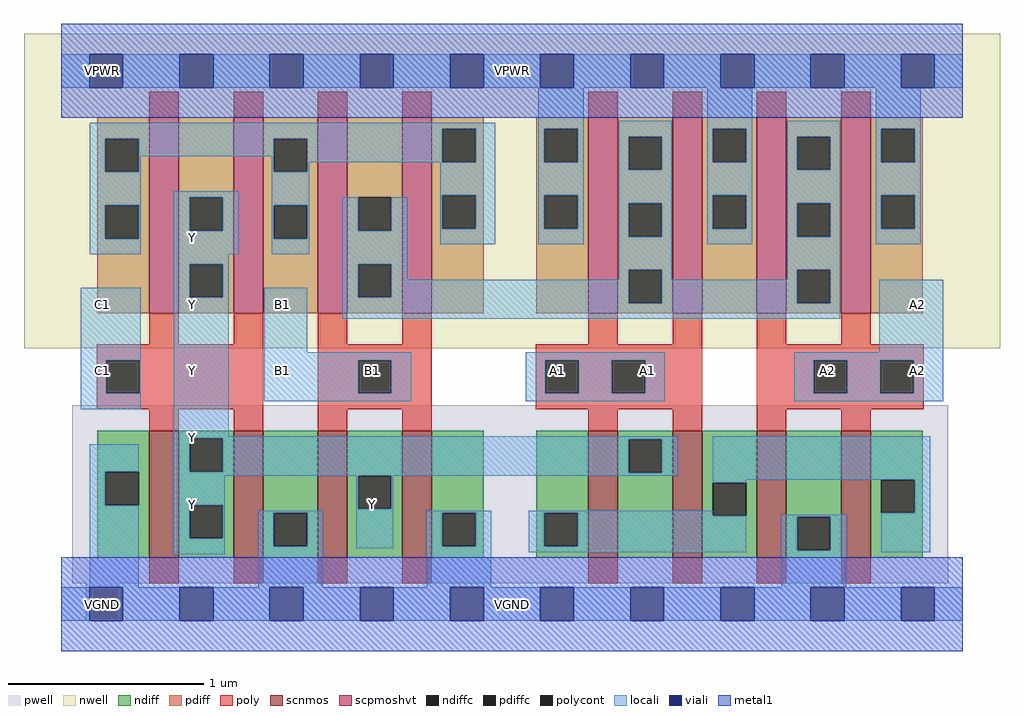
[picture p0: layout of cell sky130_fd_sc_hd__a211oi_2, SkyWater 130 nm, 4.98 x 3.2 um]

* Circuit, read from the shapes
.subckt sky130_fd_sc_hd__a211oi_2 A1 A2 B1 C1 VGND VNB VPB VPWR Y
XM1 Y C1 VGND VNB sky130_fd_pr__nfet_01v8 w=0.65 l=0.15 m=2
XM2 Y B1 VGND VNB sky130_fd_pr__nfet_01v8 w=0.65 l=0.15 m=2
XM3 Y A1 n1 VNB sky130_fd_pr__nfet_01v8 w=0.65 l=0.15 m=2
XM4 VGND A2 n1 VNB sky130_fd_pr__nfet_01v8 w=0.65 l=0.15 m=2
XM5 Y C1 n2 VPB sky130_fd_pr__pfet_01v8_hvt w=1 l=0.15 m=2
XM6 n3 B1 n2 VPB sky130_fd_pr__pfet_01v8_hvt w=1 l=0.15 m=2
XM7 n3 A1 VPWR VPB sky130_fd_pr__pfet_01v8_hvt w=1 l=0.15 m=2
XM8 n3 A2 VPWR VPB sky130_fd_pr__pfet_01v8_hvt w=1 l=0.15 m=2
.ends

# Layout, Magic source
magic
tech sky130A
magscale 1 2
<< nwell >>
rect -38 261 958 582
<< pwell >>
rect 11 21 905 203
rect 25 -17 59 21
<< scnmos >>
rect 90 47 120 177
rect 176 47 206 177
rect 262 47 292 177
rect 348 47 378 177
rect 538 47 568 177
rect 624 47 654 177
rect 710 47 740 177
rect 796 47 826 177
<< scpmoshvt >>
rect 90 297 120 497
rect 176 297 206 497
rect 262 297 292 497
rect 348 297 378 497
rect 538 297 568 497
rect 624 297 654 497
rect 710 297 740 497
rect 796 297 826 497
<< ndiff >>
rect 37 135 90 177
rect 37 101 45 135
rect 79 101 90 135
rect 37 47 90 101
rect 120 169 176 177
rect 120 135 131 169
rect 165 135 176 169
rect 120 101 176 135
rect 120 67 131 101
rect 165 67 176 101
rect 120 47 176 67
rect 206 93 262 177
rect 206 59 217 93
rect 251 59 262 93
rect 206 47 262 59
rect 292 131 348 177
rect 292 97 303 131
rect 337 97 348 131
rect 292 47 348 97
rect 378 93 431 177
rect 378 59 389 93
rect 423 59 431 93
rect 378 47 431 59
rect 485 93 538 177
rect 485 59 493 93
rect 527 59 538 93
rect 485 47 538 59
rect 568 168 624 177
rect 568 134 579 168
rect 613 134 624 168
rect 568 47 624 134
rect 654 124 710 177
rect 654 90 665 124
rect 699 90 710 124
rect 654 47 710 90
rect 740 89 796 177
rect 740 55 751 89
rect 785 55 796 89
rect 740 47 796 55
rect 826 127 879 177
rect 826 93 837 127
rect 871 93 879 127
rect 826 47 879 93
<< pdiff >>
rect 37 475 90 497
rect 37 441 45 475
rect 79 441 90 475
rect 37 407 90 441
rect 37 373 45 407
rect 79 373 90 407
rect 37 297 90 373
rect 120 415 176 497
rect 120 381 131 415
rect 165 381 176 415
rect 120 347 176 381
rect 120 313 131 347
rect 165 313 176 347
rect 120 297 176 313
rect 206 475 262 497
rect 206 441 217 475
rect 251 441 262 475
rect 206 407 262 441
rect 206 373 217 407
rect 251 373 262 407
rect 206 297 262 373
rect 292 415 348 497
rect 292 381 303 415
rect 337 381 348 415
rect 292 347 348 381
rect 292 313 303 347
rect 337 313 348 347
rect 292 297 348 313
rect 378 485 431 497
rect 378 451 389 485
rect 423 451 431 485
rect 378 417 431 451
rect 378 383 389 417
rect 423 383 431 417
rect 378 297 431 383
rect 485 485 538 497
rect 485 451 493 485
rect 527 451 538 485
rect 485 417 538 451
rect 485 383 493 417
rect 527 383 538 417
rect 485 297 538 383
rect 568 477 624 497
rect 568 443 579 477
rect 613 443 624 477
rect 568 409 624 443
rect 568 375 579 409
rect 613 375 624 409
rect 568 341 624 375
rect 568 307 579 341
rect 613 307 624 341
rect 568 297 624 307
rect 654 485 710 497
rect 654 451 665 485
rect 699 451 710 485
rect 654 417 710 451
rect 654 383 665 417
rect 699 383 710 417
rect 654 297 710 383
rect 740 477 796 497
rect 740 443 751 477
rect 785 443 796 477
rect 740 409 796 443
rect 740 375 751 409
rect 785 375 796 409
rect 740 341 796 375
rect 740 307 751 341
rect 785 307 796 341
rect 740 297 796 307
rect 826 485 879 497
rect 826 451 837 485
rect 871 451 879 485
rect 826 417 879 451
rect 826 383 837 417
rect 871 383 879 417
rect 826 297 879 383
<< ndiffc >>
rect 45 101 79 135
rect 131 135 165 169
rect 131 67 165 101
rect 217 59 251 93
rect 303 97 337 131
rect 389 59 423 93
rect 493 59 527 93
rect 579 134 613 168
rect 665 90 699 124
rect 751 55 785 89
rect 837 93 871 127
<< pdiffc >>
rect 45 441 79 475
rect 45 373 79 407
rect 131 381 165 415
rect 131 313 165 347
rect 217 441 251 475
rect 217 373 251 407
rect 303 381 337 415
rect 303 313 337 347
rect 389 451 423 485
rect 389 383 423 417
rect 493 451 527 485
rect 493 383 527 417
rect 579 443 613 477
rect 579 375 613 409
rect 579 307 613 341
rect 665 451 699 485
rect 665 383 699 417
rect 751 443 785 477
rect 751 375 785 409
rect 751 307 785 341
rect 837 451 871 485
rect 837 383 871 417
<< poly >>
rect 90 497 120 523
rect 176 497 206 523
rect 262 497 292 523
rect 348 497 378 523
rect 538 497 568 523
rect 624 497 654 523
rect 710 497 740 523
rect 796 497 826 523
rect 90 265 120 297
rect 176 265 206 297
rect 36 249 206 265
rect 36 215 46 249
rect 80 215 206 249
rect 36 199 206 215
rect 90 177 120 199
rect 176 177 206 199
rect 262 265 292 297
rect 348 265 378 297
rect 538 265 568 297
rect 624 265 654 297
rect 262 249 378 265
rect 262 215 303 249
rect 337 215 378 249
rect 262 199 378 215
rect 484 249 654 265
rect 484 215 494 249
rect 528 215 562 249
rect 596 215 654 249
rect 484 199 654 215
rect 262 177 292 199
rect 348 177 378 199
rect 538 177 568 199
rect 624 177 654 199
rect 710 265 740 297
rect 796 265 826 297
rect 710 249 880 265
rect 710 215 768 249
rect 802 215 836 249
rect 870 215 880 249
rect 710 199 880 215
rect 710 177 740 199
rect 796 177 826 199
rect 90 21 120 47
rect 176 21 206 47
rect 262 21 292 47
rect 348 21 378 47
rect 538 21 568 47
rect 624 21 654 47
rect 710 21 740 47
rect 796 21 826 47
<< polycont >>
rect 46 215 80 249
rect 303 215 337 249
rect 494 215 528 249
rect 562 215 596 249
rect 768 215 802 249
rect 836 215 870 249
<< locali >>
rect 0 527 29 561
rect 63 527 121 561
rect 155 527 213 561
rect 247 527 305 561
rect 339 527 397 561
rect 431 527 489 561
rect 523 527 581 561
rect 615 527 673 561
rect 707 527 765 561
rect 799 527 857 561
rect 891 527 920 561
rect 29 485 443 491
rect 29 475 389 485
rect 29 441 45 475
rect 79 457 217 475
rect 79 441 81 457
rect 29 407 81 441
rect 215 441 217 457
rect 251 451 389 475
rect 423 451 443 485
rect 251 441 253 451
rect 29 373 45 407
rect 79 373 81 407
rect 29 357 81 373
rect 115 415 181 421
rect 115 381 131 415
rect 165 381 181 415
rect 115 357 181 381
rect 215 407 253 441
rect 387 417 443 451
rect 215 373 217 407
rect 251 373 253 407
rect 215 357 253 373
rect 287 381 303 415
rect 337 381 353 415
rect 115 347 171 357
rect 20 249 81 323
rect 20 215 46 249
rect 80 215 81 249
rect 20 199 81 215
rect 115 313 131 347
rect 165 313 171 347
rect 287 347 353 381
rect 387 383 389 417
rect 423 383 443 417
rect 387 367 443 383
rect 487 485 533 527
rect 487 451 493 485
rect 527 451 533 485
rect 487 417 533 451
rect 487 383 493 417
rect 527 383 533 417
rect 487 367 533 383
rect 569 477 623 493
rect 569 443 579 477
rect 613 443 623 477
rect 569 409 623 443
rect 569 375 579 409
rect 613 375 623 409
rect 115 171 171 313
rect 207 257 251 323
rect 287 313 303 347
rect 337 331 353 347
rect 569 341 623 375
rect 659 485 705 527
rect 659 451 665 485
rect 699 451 705 485
rect 659 417 705 451
rect 659 383 665 417
rect 699 383 705 417
rect 659 367 705 383
rect 741 477 795 493
rect 741 443 751 477
rect 785 443 795 477
rect 741 409 795 443
rect 741 375 751 409
rect 785 375 795 409
rect 569 331 579 341
rect 337 313 579 331
rect 287 307 579 313
rect 613 331 623 341
rect 741 341 795 375
rect 831 485 877 527
rect 831 451 837 485
rect 871 451 877 485
rect 831 417 877 451
rect 831 383 837 417
rect 871 383 877 417
rect 831 367 877 383
rect 741 331 751 341
rect 613 307 751 331
rect 785 307 795 341
rect 287 291 795 307
rect 835 257 900 331
rect 207 249 357 257
rect 207 215 303 249
rect 337 215 357 249
rect 207 207 357 215
rect 474 249 616 257
rect 474 215 494 249
rect 528 215 562 249
rect 596 215 616 249
rect 474 207 616 215
rect 748 249 900 257
rect 748 215 768 249
rect 802 215 836 249
rect 870 215 900 249
rect 748 207 900 215
rect 115 169 629 171
rect 29 135 79 163
rect 29 101 45 135
rect 29 17 79 101
rect 115 135 131 169
rect 165 168 629 169
rect 165 135 579 168
rect 115 134 579 135
rect 613 134 629 168
rect 115 131 629 134
rect 115 101 167 131
rect 115 67 131 101
rect 165 67 167 101
rect 301 97 303 131
rect 337 97 339 131
rect 115 51 167 67
rect 201 93 267 95
rect 201 59 217 93
rect 251 59 267 93
rect 201 17 267 59
rect 301 57 339 97
rect 665 127 887 171
rect 665 124 699 127
rect 373 93 439 95
rect 373 59 389 93
rect 423 59 439 93
rect 373 17 439 59
rect 477 93 665 95
rect 477 59 493 93
rect 527 90 665 93
rect 871 93 887 127
rect 527 59 699 90
rect 477 53 699 59
rect 735 89 801 91
rect 735 55 751 89
rect 785 55 801 89
rect 735 17 801 55
rect 837 53 887 93
rect 0 -17 29 17
rect 63 -17 121 17
rect 155 -17 213 17
rect 247 -17 305 17
rect 339 -17 397 17
rect 431 -17 489 17
rect 523 -17 581 17
rect 615 -17 673 17
rect 707 -17 765 17
rect 799 -17 857 17
rect 891 -17 920 17
<< viali >>
rect 29 527 63 561
rect 121 527 155 561
rect 213 527 247 561
rect 305 527 339 561
rect 397 527 431 561
rect 489 527 523 561
rect 581 527 615 561
rect 673 527 707 561
rect 765 527 799 561
rect 857 527 891 561
rect 29 -17 63 17
rect 121 -17 155 17
rect 213 -17 247 17
rect 305 -17 339 17
rect 397 -17 431 17
rect 489 -17 523 17
rect 581 -17 615 17
rect 673 -17 707 17
rect 765 -17 799 17
rect 857 -17 891 17
<< metal1 >>
rect 0 561 920 592
rect 0 527 29 561
rect 63 527 121 561
rect 155 527 213 561
rect 247 527 305 561
rect 339 527 397 561
rect 431 527 489 561
rect 523 527 581 561
rect 615 527 673 561
rect 707 527 765 561
rect 799 527 857 561
rect 891 527 920 561
rect 0 496 920 527
rect 0 17 920 48
rect 0 -17 29 17
rect 63 -17 121 17
rect 155 -17 213 17
rect 247 -17 305 17
rect 339 -17 397 17
rect 431 -17 489 17
rect 523 -17 581 17
rect 615 -17 673 17
rect 707 -17 765 17
rect 799 -17 857 17
rect 891 -17 920 17
rect 0 -48 920 -17
<< labels >>
flabel locali s 765 221 799 255 0 FreeSans 200 0 0 0 A2
port 2 nsew signal input
flabel locali s 25 221 59 255 0 FreeSans 200 0 0 0 C1
port 4 nsew signal input
flabel locali s 25 289 59 323 0 FreeSans 200 0 0 0 C1
port 4 nsew signal input
flabel locali s 301 221 335 255 0 FreeSans 200 0 0 0 B1
port 3 nsew signal input
flabel locali s 117 289 151 323 0 FreeSans 200 0 0 0 Y
port 9 nsew signal output
flabel locali s 117 357 151 391 0 FreeSans 200 0 0 0 Y
port 9 nsew signal output
flabel locali s 117 221 151 255 0 FreeSans 200 0 0 0 Y
port 9 nsew signal output
flabel locali s 117 153 151 187 0 FreeSans 200 0 0 0 Y
port 9 nsew signal output
flabel locali s 117 85 151 119 0 FreeSans 200 0 0 0 Y
port 9 nsew signal output
flabel locali s 301 85 335 119 0 FreeSans 200 0 0 0 Y
port 9 nsew signal output
flabel locali s 489 221 523 255 0 FreeSans 200 0 0 0 A1
port 1 nsew signal input
flabel locali s 857 289 891 323 0 FreeSans 200 0 0 0 A2
port 2 nsew signal input
flabel locali s 581 221 615 255 0 FreeSans 200 0 0 0 A1
port 1 nsew signal input
flabel locali s 209 221 243 255 0 FreeSans 200 0 0 0 B1
port 3 nsew signal input
flabel locali s 857 221 891 255 0 FreeSans 200 0 0 0 A2
port 2 nsew signal input
flabel locali s 209 289 243 323 0 FreeSans 200 0 0 0 B1
port 3 nsew signal input
flabel metal1 s 25 527 59 561 0 FreeSans 200 0 0 0 VPWR
port 8 nsew power bidirectional abutment
flabel metal1 s 25 -17 59 17 0 FreeSans 200 0 0 0 VGND
port 5 nsew ground bidirectional abutment
flabel nwell s 25 527 59 561 0 FreeSans 200 0 0 0 VPB
port 7 nsew power bidirectional
flabel pwell s 25 -17 59 17 0 FreeSans 200 0 0 0 VNB
port 6 nsew ground bidirectional
rlabel comment s 0 0 0 0 4 a211oi_2
rlabel metal1 s 0 -48 920 48 1 VGND
port 5 nsew ground bidirectional abutment
rlabel metal1 s 0 496 920 592 1 VPWR
port 8 nsew power bidirectional abutment
<< properties >>
string FIXED_BBOX 0 0 920 544
string GDS_END 3599080
string GDS_FILE $PDKPATH/libs.ref/sky130_fd_sc_hd/gds/sky130_fd_sc_hd.gds
string GDS_START 3590138
string LEFclass CORE
string LEFsite unithd
string LEFsymmetry X Y R90
string path 0.000 13.600 23.000 13.600 
<< end >>
